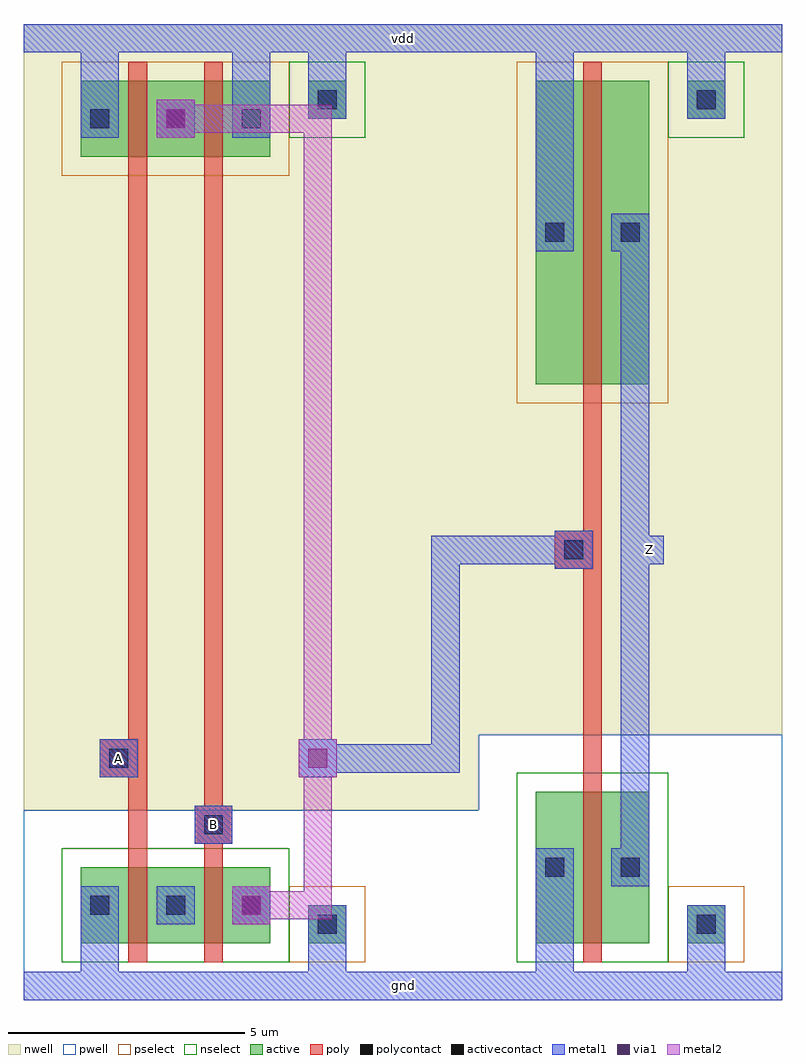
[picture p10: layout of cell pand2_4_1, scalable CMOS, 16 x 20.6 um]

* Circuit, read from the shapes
.subckt pand2_4_1 A B Z gnd vdd
M1 pnand2_4_0/nmos_m1_w1_6_a_p_2/D A gnd gnd nfet w=1.6u l=0.4u
M2 pinv_11_1/A B pnand2_4_0/nmos_m1_w1_6_a_p_2/D gnd nfet w=1.6u l=0.4u
M3 Z pinv_11_1/A gnd gnd nfet w=3.2u l=0.4u
M4 pinv_11_1/A A vdd vdd pfet w=1.6u l=0.4u
M5 vdd B pinv_11_1/A vdd pfet w=1.6u l=0.4u
M6 Z pinv_11_1/A vdd vdd pfet w=6.4u l=0.4u
.ends

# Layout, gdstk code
from math import pi, radians
import gdstk
lib = gdstk.Library(unit=1e-6, precision=1e-09)
def R(c, l, rs):  # rectangles x0, y0, x1, y1
    for r in rs: c.add(gdstk.rectangle(r[:2], r[2:], *l))
pwell = (41, 0)
nwell = (42, 0)
active = (43, 0)
pselect = (44, 0)
nselect = (45, 0)
poly = (46, 0)
polycontact = (47, 0)
activecontact = (48, 0)
metal1 = (49, 0)
via1 = (50, 0)
metal2 = (51, 0)

active_contact_metal1_1x = lib.new_cell('active_contact_metal1_1x1_pn')
R(active_contact_metal1_1x, nwell, [(-1.2,-1.2,2,2)])
R(active_contact_metal1_1x, active, [(0,0,0.8,0.8)])
R(active_contact_metal1_1x, pselect, [(-0.4,-0.4,1.2,1.2)])
R(active_contact_metal1_1x, activecontact, [(0.2,0.2,0.6,0.6)])
R(active_contact_metal1_1x, metal1, [(0,0,0.8,0.8)])

pmos_m1_w1_6_a_p = lib.new_cell('pmos_m1_w1_6_a_p')
R(pmos_m1_w1_6_a_p, nwell, [(-1.2,-1.2,3.6,2.8)])
R(pmos_m1_w1_6_a_p, active, [(0,0,2.4,1.6)])
R(pmos_m1_w1_6_a_p, pselect, [(-0.4,-0.4,2.8,2)])
R(pmos_m1_w1_6_a_p, poly, [(1,-0.4,1.4,2), (1,-0.4,1.4,2)])
R(pmos_m1_w1_6_a_p, metal1, [(0,0.4,0.8,1.2), (1.6,0.4,2.4,1.2)])
pmos_m1_w1_6_a_p.add(gdstk.Reference(active_contact_metal1_1x, (0,0.4)))
pmos_m1_w1_6_a_p.add(gdstk.Reference(active_contact_metal1_1x, (1.6,0.4)))
pmos_m1_w1_6_a_p.add(gdstk.Label('G', (1.2,0.8), layer=46, texttype=0))
pmos_m1_w1_6_a_p.add(gdstk.Label('S', (0.4,0.8), layer=49, texttype=0))
pmos_m1_w1_6_a_p.add(gdstk.Label('D', (2,0.8), layer=49, texttype=0))

c_active_contact_metal1_1x = lib.new_cell('active_contact_metal1_1x1_np')
R(c_active_contact_metal1_1x, pwell, [(-1.2,-1.2,2,2)])
R(c_active_contact_metal1_1x, active, [(0,0,0.8,0.8)])
R(c_active_contact_metal1_1x, nselect, [(-0.4,-0.4,1.2,1.2)])
R(c_active_contact_metal1_1x, activecontact, [(0.2,0.2,0.6,0.6)])
R(c_active_contact_metal1_1x, metal1, [(0,0,0.8,0.8)])

nmos_m1_w1_6_a_p = lib.new_cell('nmos_m1_w1_6_a_p')
R(nmos_m1_w1_6_a_p, pwell, [(-1.2,-1.2,3.6,2.8)])
R(nmos_m1_w1_6_a_p, active, [(0,0,2.4,1.6)])
R(nmos_m1_w1_6_a_p, nselect, [(-0.4,-0.4,2.8,2)])
R(nmos_m1_w1_6_a_p, poly, [(1,-0.4,1.4,2), (1,-0.4,1.4,2)])
R(nmos_m1_w1_6_a_p, metal1, [(0,0.4,0.8,1.2), (1.6,0.4,2.4,1.2)])
nmos_m1_w1_6_a_p.add(gdstk.Reference(c_active_contact_metal1_1x, (0,0.4)))
nmos_m1_w1_6_a_p.add(gdstk.Reference(c_active_contact_metal1_1x, (1.6,0.4)))
nmos_m1_w1_6_a_p.add(gdstk.Label('G', (1.2,0.8), layer=46, texttype=0))
nmos_m1_w1_6_a_p.add(gdstk.Label('S', (0.4,0.8), layer=49, texttype=0))
nmos_m1_w1_6_a_p.add(gdstk.Label('D', (2,0.8), layer=49, texttype=0))

c_active_contact_metal1_1x_ = lib.new_cell('active_contact_metal1_1x1_nn')
R(c_active_contact_metal1_1x_, nwell, [(-1.2,-1.2,2,2)])
R(c_active_contact_metal1_1x_, active, [(0,0,0.8,0.8)])
R(c_active_contact_metal1_1x_, nselect, [(-0.4,-0.4,1.2,1.2)])
R(c_active_contact_metal1_1x_, activecontact, [(0.2,0.2,0.6,0.6)])
R(c_active_contact_metal1_1x_, metal1, [(0,0,0.8,0.8)])

c_active_contact_metal1_1x__ = lib.new_cell('active_contact_metal1_1x1_pp')
R(c_active_contact_metal1_1x__, pwell, [(-1.2,-1.2,2,2)])
R(c_active_contact_metal1_1x__, active, [(0,0,0.8,0.8)])
R(c_active_contact_metal1_1x__, pselect, [(-0.4,-0.4,1.2,1.2)])
R(c_active_contact_metal1_1x__, activecontact, [(0.2,0.2,0.6,0.6)])
R(c_active_contact_metal1_1x__, metal1, [(0,0,0.8,0.8)])

poly_contact_metal1_1x1 = lib.new_cell('poly_contact_metal1_1x1')
R(poly_contact_metal1_1x1, poly, [(0,0,0.8,0.8)])
R(poly_contact_metal1_1x1, polycontact, [(0.2,0.2,0.6,0.6)])
R(poly_contact_metal1_1x1, metal1, [(0,0,0.8,0.8)])

metal1_via1_metal2_1x1 = lib.new_cell('metal1_via1_metal2_1x1')
R(metal1_via1_metal2_1x1, metal1, [(0,0,0.8,0.8)])
R(metal1_via1_metal2_1x1, via1, [(0.2,0.2,0.6,0.6)])
R(metal1_via1_metal2_1x1, metal2, [(0,0,0.8,0.8)])

pnand2_4 = lib.new_cell('pnand2_4')
R(pnand2_4, pwell, [(0,-0.3,9.6,3.7)])
R(pnand2_4, nwell, [(0,3.7,9.6,20.3)])
R(pnand2_4, poly, [(2.2,0.5,2.6,17.1), (3.8,0.5,4.2,17.1), (3.8,3,4,3.8), (2,4.4,2.2,5.2)])
R(pnand2_4, metal1, [(0,-0.3,9.6,0.3), (1.2,-0.3,2,1.3), (6,0,6.8,1.3), (3.6,3,4.4,3.8), (1.6,4.4,2.4,5.2), (5.8,4.4,6.6,5.2), (1.2,17.9,2,20.3), (4.4,17.9,5.2,20.3), (6,18.7,6.8,20), (0,19.7,9.6,20.3)])
R(pnand2_4, metal2, [(4.8,1.4,6.2,2), (5.9,1.4,6.5,2), (5.9,1.7,6.5,4.8), (5.9,4.8,6.5,18.3), (3.2,18,6.2,18.6), (5.9,18,6.5,18.6)])
pnand2_4.add(gdstk.Reference(pmos_m1_w1_6_a_p, (1.2,17.5)))
pnand2_4.add(gdstk.Reference(pmos_m1_w1_6_a_p, (2.8,17.5)))
pnand2_4.add(gdstk.Reference(nmos_m1_w1_6_a_p, (1.2,0.9)))
pnand2_4.add(gdstk.Reference(nmos_m1_w1_6_a_p, (2.8,0.9)))
pnand2_4.add(gdstk.Reference(c_active_contact_metal1_1x_, (6,18.3)))
pnand2_4.add(gdstk.Reference(c_active_contact_metal1_1x__, (6,0.9)))
pnand2_4.add(gdstk.Reference(poly_contact_metal1_1x1, (4.4,3), rotation=pi/2))
pnand2_4.add(gdstk.Reference(poly_contact_metal1_1x1, (2.4,4.4), rotation=pi/2))
pnand2_4.add(gdstk.Reference(metal1_via1_metal2_1x1, (2.8,17.9)))
pnand2_4.add(gdstk.Reference(metal1_via1_metal2_1x1, (4.4,1.3)))
pnand2_4.add(gdstk.Reference(metal1_via1_metal2_1x1, (6.6,4.4), rotation=pi/2))
pnand2_4.add(gdstk.Label('gnd', (4.8,0), layer=49, texttype=0))
pnand2_4.add(gdstk.Label('vdd', (4.8,20), layer=49, texttype=0))
pnand2_4.add(gdstk.Label('B', (4,3.4), layer=49, texttype=0))
pnand2_4.add(gdstk.Label('A', (2,4.8), layer=49, texttype=0))
pnand2_4.add(gdstk.Label('Z', (6.2,4.8), layer=49, texttype=0))

pmos_m1_w6_4_a_p = lib.new_cell('pmos_m1_w6_4_a_p')
R(pmos_m1_w6_4_a_p, nwell, [(-1.2,-1.2,3.6,7.6)])
R(pmos_m1_w6_4_a_p, active, [(0,0,2.4,6.4)])
R(pmos_m1_w6_4_a_p, pselect, [(-0.4,-0.4,2.8,6.8)])
R(pmos_m1_w6_4_a_p, poly, [(1,-0.4,1.4,6.8), (1,-0.4,1.4,6.8)])
R(pmos_m1_w6_4_a_p, metal1, [(0,2.8,0.8,3.6), (1.6,2.8,2.4,3.6)])
pmos_m1_w6_4_a_p.add(gdstk.Reference(active_contact_metal1_1x, (0,2.8)))
pmos_m1_w6_4_a_p.add(gdstk.Reference(active_contact_metal1_1x, (1.6,2.8)))
pmos_m1_w6_4_a_p.add(gdstk.Label('G', (1.2,3.2), layer=46, texttype=0))
pmos_m1_w6_4_a_p.add(gdstk.Label('S', (0.4,3.2), layer=49, texttype=0))
pmos_m1_w6_4_a_p.add(gdstk.Label('D', (2,3.2), layer=49, texttype=0))

nmos_m1_w3_2_a_p = lib.new_cell('nmos_m1_w3_2_a_p')
R(nmos_m1_w3_2_a_p, pwell, [(-1.2,-1.2,3.6,4.4)])
R(nmos_m1_w3_2_a_p, active, [(0,0,2.4,3.2)])
R(nmos_m1_w3_2_a_p, nselect, [(-0.4,-0.4,2.8,3.6)])
R(nmos_m1_w3_2_a_p, poly, [(1,-0.4,1.4,3.6), (1,-0.4,1.4,3.6)])
R(nmos_m1_w3_2_a_p, metal1, [(0,1.2,0.8,2), (1.6,1.2,2.4,2)])
nmos_m1_w3_2_a_p.add(gdstk.Reference(c_active_contact_metal1_1x, (0,1.2)))
nmos_m1_w3_2_a_p.add(gdstk.Reference(c_active_contact_metal1_1x, (1.6,1.2)))
nmos_m1_w3_2_a_p.add(gdstk.Label('G', (1.2,1.6), layer=46, texttype=0))
nmos_m1_w3_2_a_p.add(gdstk.Label('S', (0.4,1.6), layer=49, texttype=0))
nmos_m1_w3_2_a_p.add(gdstk.Label('D', (2,1.6), layer=49, texttype=0))

pinv_11 = lib.new_cell('pinv_11')
R(pinv_11, pwell, [(0,-0.3,6.4,5.3)])
R(pinv_11, nwell, [(0,5.3,6.4,20.3)])
R(pinv_11, poly, [(2.2,0.5,2.6,12.3), (2,8.8,2.2,9.6)])
R(pinv_11, metal1, [(0,-0.3,6.4,0.3), (1.2,-0.3,2,2.1), (4.4,0,5.2,1.3), (3,2.1,3.6,15.5), (1.6,8.8,2.4,9.6), (3.3,8.9,3.9,9.5), (1.2,15.5,2,20.3), (4.4,18.7,5.2,20), (0,19.7,6.4,20.3)])
pinv_11.add(gdstk.Reference(pmos_m1_w6_4_a_p, (1.2,12.7)))
pinv_11.add(gdstk.Reference(nmos_m1_w3_2_a_p, (1.2,0.9)))
pinv_11.add(gdstk.Reference(c_active_contact_metal1_1x_, (4.4,18.3)))
pinv_11.add(gdstk.Reference(c_active_contact_metal1_1x__, (4.4,0.9)))
pinv_11.add(gdstk.Reference(poly_contact_metal1_1x1, (1.6,8.8)))
pinv_11.add(gdstk.Label('gnd', (3.2,0), layer=49, texttype=0))
pinv_11.add(gdstk.Label('vdd', (3.2,20), layer=49, texttype=0))
pinv_11.add(gdstk.Label('A', (2,9.2), layer=49, texttype=0))
pinv_11.add(gdstk.Label('Z', (3.6,9.2), layer=49, texttype=0))

pand2_4_1 = lib.new_cell('pand2_4_1')
R(pand2_4_1, metal1, [(0,-0.3,16,0.3), (3.6,3,4.4,3.8), (1.6,4.4,2.4,5.2), (6.2,4.5,8.9,5.1), (8.6,4.5,9.2,5.1), (8.6,4.8,9.2,9.2), (8.6,8.9,9.2,9.5), (8.9,8.9,11.6,9.5), (12.9,8.9,13.5,9.5), (0,19.7,16,20.3)])
pand2_4_1.add(gdstk.Reference(pnand2_4, (0,0)))
pand2_4_1.add(gdstk.Reference(pinv_11, (9.6,0)))
pand2_4_1.add(gdstk.Label('vdd', (8,20), layer=49, texttype=0))
pand2_4_1.add(gdstk.Label('gnd', (8,0), layer=49, texttype=0))
pand2_4_1.add(gdstk.Label('Z', (13.2,9.2), layer=49, texttype=0))
pand2_4_1.add(gdstk.Label('A', (2,4.8), layer=49, texttype=0))
pand2_4_1.add(gdstk.Label('B', (4,3.4), layer=49, texttype=0))

lib.write_gds('pand2_4_1.gds')
